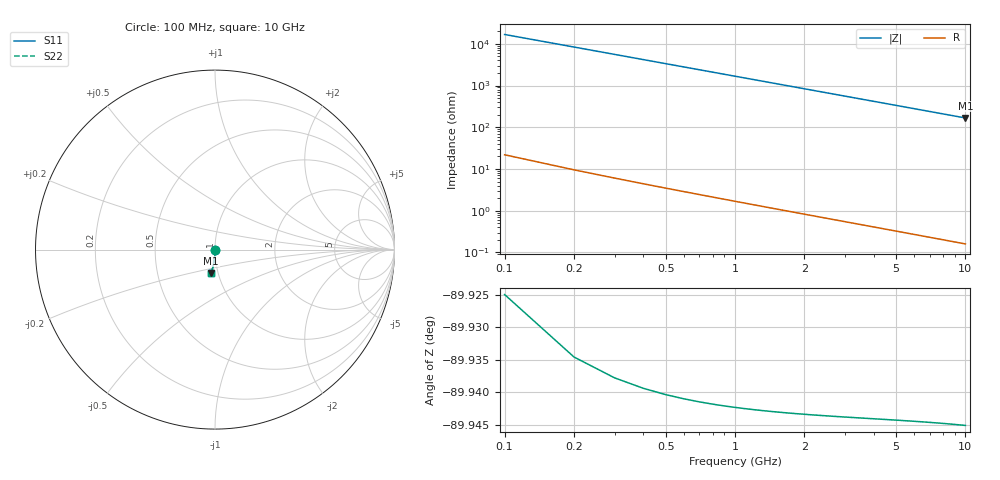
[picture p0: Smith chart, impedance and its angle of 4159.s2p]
# Hz S RI R 50.00
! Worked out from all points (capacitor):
!   100 points, 100 MHz to 10 GHz, reference 50 ohm
!   read as one part in shunt: C = 95 fF near 100 MHz
!   lowest |Z| = 167 ohm at 10 GHz (marker M1)
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1e8  0.000159 -0.00133  0.9998 -0.00165  0.9998 -0.00165  0.000159 -0.00133
2e8  0.000152 -0.00267  0.9998 -0.0033  0.9998 -0.0033  0.000152 -0.00267
3e8  0.00014 -0.004  0.9998 -0.00495  0.9998 -0.00495  0.00014 -0.004
4e8  0.000124 -0.00533  0.9998 -0.0066  0.9998 -0.0066  0.000124 -0.00533
5e8  0.000103 -0.00667  0.9998 -0.00825  0.9998 -0.00825  0.000103 -0.00667
6e8  7.8e-05 -0.008  0.9997 -0.0099  0.9997 -0.0099  7.8e-05 -0.008
7e8  4.84e-05 -0.00934  0.9997 -0.0116  0.9997 -0.0116  4.84e-05 -0.00934
8e8  1.43e-05 -0.0107  0.9997 -0.0132  0.9997 -0.0132  1.43e-05 -0.0107
9e8  -2.41e-05 -0.012  0.9996 -0.0149  0.9996 -0.0149  -2.41e-05 -0.012
1.1e9  -0.000114 -0.0147  0.9995 -0.0182  0.9995 -0.0182  -0.000114 -0.0147
1.4e9  -0.000283 -0.0187  0.9994 -0.0231  0.9994 -0.0231  -0.000283 -0.0187
1.8e9  -0.000569 -0.024  0.9991 -0.0297  0.9991 -0.0297  -0.000569 -0.024
2.1e9  -0.00083 -0.028  0.9988 -0.0346  0.9988 -0.0346  -0.00083 -0.028
2.5e9  -0.00124 -0.0333  0.9984 -0.0412  0.9984 -0.0412  -0.00124 -0.0333
2.9e9  -0.00172 -0.0386  0.9979 -0.0478  0.9979 -0.0478  -0.00172 -0.0386
3.4e9  -0.00242 -0.0452  0.9972 -0.056  0.9972 -0.056  -0.00242 -0.0452
4.2e9  -0.00376 -0.0558  0.9958 -0.0691  0.9958 -0.0691  -0.00376 -0.0558
5.1e9  -0.0056 -0.0677  0.9939 -0.0838  0.9939 -0.0838  -0.0056 -0.0677
5.9e9  -0.00753 -0.0781  0.9919 -0.0969  0.9919 -0.0969  -0.00753 -0.0781
6.7e9  -0.00974 -0.0885  0.9897 -0.1098  0.9897 -0.1098  -0.00974 -0.0885
8.4e9  -0.0153 -0.1104  0.984 -0.1371  0.984 -0.1371  -0.0153 -0.1104
1e10  -0.0216 -0.1306  0.9775 -0.1624  0.9775 -0.1624  -0.0216 -0.1306
